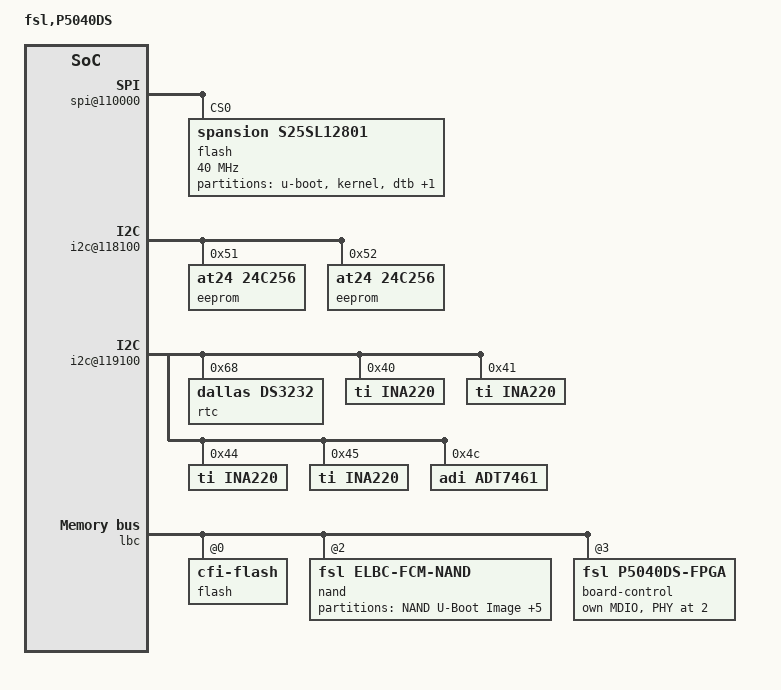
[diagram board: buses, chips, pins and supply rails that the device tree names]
/*
 * P5040DS Device Tree Source
 *
 * Copyright 2012 - 2015 Freescale Semiconductor Inc.
 *
 * Redistribution and use in source and binary forms, with or without
 * modification, are permitted provided that the following conditions are met:
 *     * Redistributions of source code must retain the above copyright
 *       notice, this list of conditions and the following disclaimer.
 *     * Redistributions in binary form must reproduce the above copyright
 *       notice, this list of conditions and the following disclaimer in the
 *       documentation and/or other materials provided with the distribution.
 *     * Neither the name of Freescale Semiconductor nor the
 *       names of its contributors may be used to endorse or promote products
 *       derived from this software without specific prior written permission.
 *
 *
 * ALTERNATIVELY, this software may be distributed under the terms of the
 * GNU General Public License ("GPL") as published by the Free Software
 * Foundation, either version 2 of that License or (at your option) any
 * later version.
 *
 * This software is provided by Freescale Semiconductor "as is" and any
 * express or implied warranties, including, but not limited to, the implied
 * warranties of merchantability and fitness for a particular purpose are
 * disclaimed. In no event shall Freescale Semiconductor be liable for any
 * direct, indirect, incidental, special, exemplary, or consequential damages
 * (including, but not limited to, procurement of substitute goods or services;
 * loss of use, data, or profits; or business interruption) however caused and
 * on any theory of liability, whether in contract, strict liability, or tort
 * (including negligence or otherwise) arising in any way out of the use of this
 * software, even if advised of the possibility of such damage.
 */

/include/ "p5040si-pre.dtsi"

/ {
	model = "fsl,P5040DS";
	compatible = "fsl,P5040DS";
	#address-cells = <2>;
	#size-cells = <2>;
	interrupt-parent = <&mpic>;

	aliases{
		phy_sgmii_slot2_1c = &phy_sgmii_slot2_1c;
		phy_sgmii_slot2_1d = &phy_sgmii_slot2_1d;
		phy_sgmii_slot2_1e = &phy_sgmii_slot2_1e;
		phy_sgmii_slot2_1f = &phy_sgmii_slot2_1f;
		phy_sgmii_slot3_1c = &phy_sgmii_slot3_1c;
		phy_sgmii_slot3_1d = &phy_sgmii_slot3_1d;
		phy_sgmii_slot3_1e = &phy_sgmii_slot3_1e;
		phy_sgmii_slot3_1f = &phy_sgmii_slot3_1f;
		phy_sgmii_slot5_1c = &phy_sgmii_slot5_1c;
		phy_sgmii_slot5_1d = &phy_sgmii_slot5_1d;
		phy_sgmii_slot5_1e = &phy_sgmii_slot5_1e;
		phy_sgmii_slot5_1f = &phy_sgmii_slot5_1f;
		phy_sgmii_slot6_1c = &phy_sgmii_slot6_1c;
		phy_sgmii_slot6_1d = &phy_sgmii_slot6_1d;
		phy_sgmii_slot6_1e = &phy_sgmii_slot6_1e;
		phy_sgmii_slot6_1f = &phy_sgmii_slot6_1f;
		hydra_rg = &hydra_rg;
		hydra_sg_slot2 = &hydra_sg_slot2;
		hydra_sg_slot3 = &hydra_sg_slot3;
		hydra_sg_slot5 = &hydra_sg_slot5;
		hydra_sg_slot6 = &hydra_sg_slot6;
		hydra_xg_slot1 = &hydra_xg_slot1;
		hydra_xg_slot2 = &hydra_xg_slot2;
	};

	memory {
		device_type = "memory";
	};

	reserved-memory {
		#address-cells = <2>;
		#size-cells = <2>;
		ranges;

		bman_fbpr: bman-fbpr {
			size = <0 0x1000000>;
			alignment = <0 0x1000000>;
		};
		qman_fqd: qman-fqd {
			size = <0 0x400000>;
			alignment = <0 0x400000>;
		};
		qman_pfdr: qman-pfdr {
			size = <0 0x2000000>;
			alignment = <0 0x2000000>;
		};
	};

	dcsr: dcsr@f00000000 {
		ranges = <0x00000000 0xf 0x00000000 0x01008000>;
	};

	bportals: bman-portals@ff4000000 {
		ranges = <0x0 0xf 0xf4000000 0x200000>;
	};

	qportals: qman-portals@ff4200000 {
		ranges = <0x0 0xf 0xf4200000 0x200000>;
	};

	soc: soc@ffe000000 {
		ranges = <0x00000000 0xf 0xfe000000 0x1000000>;
		reg = <0xf 0xfe000000 0 0x00001000>;
		spi@110000 {
			flash@0 {
				#address-cells = <1>;
				#size-cells = <1>;
				compatible = "spansion,s25sl12801", "jedec,spi-nor";
				reg = <0>;
				spi-max-frequency = <40000000>; /* input clock */
				partition@u-boot {
					label = "u-boot";
					reg = <0x00000000 0x00100000>;
				};
				partition@kernel {
					label = "kernel";
					reg = <0x00100000 0x00500000>;
				};
				partition@dtb {
					label = "dtb";
					reg = <0x00600000 0x00100000>;
				};
				partition@fs {
					label = "file system";
					reg = <0x00700000 0x00900000>;
				};
			};
		};

		i2c@118100 {
			eeprom@51 {
				compatible = "at24,24c256";
				reg = <0x51>;
			};
			eeprom@52 {
				compatible = "at24,24c256";
				reg = <0x52>;
			};
		};

		i2c@119100 {
			rtc@68 {
				compatible = "dallas,ds3232";
				reg = <0x68>;
				interrupts = <0x1 0x1 0 0>;
			};
			ina220@40 {
				compatible = "ti,ina220";
				reg = <0x40>;
				shunt-resistor = <1000>;
			};
			ina220@41 {
				compatible = "ti,ina220";
				reg = <0x41>;
				shunt-resistor = <1000>;
			};
			ina220@44 {
				compatible = "ti,ina220";
				reg = <0x44>;
				shunt-resistor = <1000>;
			};
			ina220@45 {
				compatible = "ti,ina220";
				reg = <0x45>;
				shunt-resistor = <1000>;
			};
			adt7461@4c {
				compatible = "adi,adt7461";
				reg = <0x4c>;
			};
		};

		fman@400000 {
			ethernet@e0000 {
				phy-connection-type = "sgmii";
			};

			ethernet@e2000 {
				phy-connection-type = "sgmii";
			};

			ethernet@e4000 {
				phy-connection-type = "sgmii";
			};

			ethernet@e6000 {
				phy-connection-type = "sgmii";
			};

			ethernet@e8000 {
				phy-handle = <&phy_rgmii_0>;
				phy-connection-type = "rgmii";
			};

			ethernet@f0000 {
				phy-handle = <&phy_xgmii_slot_2>;
				phy-connection-type = "xgmii";
			};
		};

		fman@500000 {
			ethernet@e0000 {
				phy-connection-type = "sgmii";
			};

			ethernet@e2000 {
				phy-connection-type = "sgmii";
			};

			ethernet@e4000 {
				phy-connection-type = "sgmii";
			};

			ethernet@e6000 {
				phy-connection-type = "sgmii";
			};

			ethernet@e8000 {
				phy-handle = <&phy_rgmii_1>;
				phy-connection-type = "rgmii";
			};

			ethernet@f0000 {
				phy-handle = <&phy_xgmii_slot_1>;
				phy-connection-type = "xgmii";
			};
		};
	};

	lbc: localbus@ffe124000 {
		reg = <0xf 0xfe124000 0 0x1000>;
		ranges = <0 0 0xf 0xe8000000 0x08000000
			  2 0 0xf 0xffa00000 0x00040000
			  3 0 0xf 0xffdf0000 0x00008000>;

		flash@0,0 {
			compatible = "cfi-flash";
			reg = <0 0 0x08000000>;
			bank-width = <2>;
			device-width = <2>;
		};

		nand@2,0 {
			#address-cells = <1>;
			#size-cells = <1>;
			compatible = "fsl,elbc-fcm-nand";
			reg = <0x2 0x0 0x40000>;

			partition@0 {
				label = "NAND U-Boot Image";
				reg = <0x0 0x02000000>;
			};

			partition@2000000 {
				label = "NAND Root File System";
				reg = <0x02000000 0x10000000>;
			};

			partition@12000000 {
				label = "NAND Compressed RFS Image";
				reg = <0x12000000 0x08000000>;
			};

			partition@1a000000 {
				label = "NAND Linux Kernel Image";
				reg = <0x1a000000 0x04000000>;
			};

			partition@1e000000 {
				label = "NAND DTB Image";
				reg = <0x1e000000 0x01000000>;
			};

			partition@1f000000 {
				label = "NAND Writable User area";
				reg = <0x1f000000 0x01000000>;
			};
		};

		board-control@3,0 {
			#address-cells = <1>;
			#size-cells = <1>;
			compatible = "fsl,p5040ds-fpga", "fsl,fpga-ngpixis";
			reg = <3 0 0x40>;
			ranges = <0 3 0 0x40>;

			mdio-mux-emi1 {
				#address-cells = <1>;
				#size-cells = <0>;
				compatible = "mdio-mux-mmioreg", "mdio-mux";
				mdio-parent-bus = <&mdio0>;
				reg = <9 1>;
				mux-mask = <0x78>;

				hydra_rg:rgmii-mdio@8 {
					#address-cells = <1>;
					#size-cells = <0>;
					reg = <8>;
					status = "disabled";

					phy_rgmii_0: ethernet-phy@0 {
						reg = <0x0>;
					};

					phy_rgmii_1: ethernet-phy@1 {
						reg = <0x1>;
					};
				};

				hydra_sg_slot2: sgmii-mdio@28 {
					#address-cells = <1>;
					#size-cells = <0>;
					reg = <0x28>;
					status = "disabled";

					phy_sgmii_slot2_1c: ethernet-phy@1c {
						reg = <0x1c>;
					};

					phy_sgmii_slot2_1d: ethernet-phy@1d {
						reg = <0x1d>;
					};

					phy_sgmii_slot2_1e: ethernet-phy@1e {
						reg = <0x1e>;
					};

					phy_sgmii_slot2_1f: ethernet-phy@1f {
						reg = <0x1f>;
					};
				};

				hydra_sg_slot3: sgmii-mdio@68 {
					#address-cells = <1>;
					#size-cells = <0>;
					reg = <0x68>;
					status = "disabled";

					phy_sgmii_slot3_1c: ethernet-phy@1c {
						reg = <0x1c>;
					};

					phy_sgmii_slot3_1d: ethernet-phy@1d {
						reg = <0x1d>;
					};

					phy_sgmii_slot3_1e: ethernet-phy@1e {
						reg = <0x1e>;
					};

					phy_sgmii_slot3_1f: ethernet-phy@1f {
						reg = <0x1f>;
					};
				};

				hydra_sg_slot5: sgmii-mdio@38 {
					#address-cells = <1>;
					#size-cells = <0>;
					reg = <0x38>;
					status = "disabled";

					phy_sgmii_slot5_1c: ethernet-phy@1c {
						reg = <0x1c>;
					};

					phy_sgmii_slot5_1d: ethernet-phy@1d {
						reg = <0x1d>;
					};

					phy_sgmii_slot5_1e: ethernet-phy@1e {
						reg = <0x1e>;
					};

					phy_sgmii_slot5_1f: ethernet-phy@1f {
						reg = <0x1f>;
					};
				};
				hydra_sg_slot6: sgmii-mdio@48 {
					#address-cells = <1>;
					#size-cells = <0>;
					reg = <0x48>;
					status = "disabled";

					phy_sgmii_slot6_1c: ethernet-phy@1c {
						reg = <0x1c>;
					};

					phy_sgmii_slot6_1d: ethernet-phy@1d {
						reg = <0x1d>;
					};

					phy_sgmii_slot6_1e: ethernet-phy@1e {
						reg = <0x1e>;
					};

					phy_sgmii_slot6_1f: ethernet-phy@1f {
						reg = <0x1f>;
					};
				};
			};

			mdio-mux-emi2 {
				#address-cells = <1>;
				#size-cells = <0>;
				compatible = "mdio-mux-mmioreg", "mdio-mux";
				mdio-parent-bus = <&xmdio0>;
				reg = <9 1>;
				mux-mask = <0x06>;

				hydra_xg_slot1: hydra-xg-slot1@0 {
					#address-cells = <1>;
					#size-cells = <0>;
					reg = <0>;
					status = "disabled";

					phy_xgmii_slot_1: ethernet-phy@0 {
						compatible = "ethernet-phy-ieee802.3-c45";
						reg = <4>;
					};
				};

				hydra_xg_slot2: hydra-xg-slot2@2 {
					#address-cells = <1>;
					#size-cells = <0>;
					reg = <2>;

					phy_xgmii_slot_2: ethernet-phy@4 {
						compatible = "ethernet-phy-ieee802.3-c45";
						reg = <0>;
					};
				};
			};
		};
	};

	pci0: pcie@ffe200000 {
		reg = <0xf 0xfe200000 0 0x1000>;
		ranges = <0x02000000 0 0xe0000000 0xc 0x00000000 0x0 0x20000000
			  0x01000000 0 0x00000000 0xf 0xf8000000 0x0 0x00010000>;
		pcie@0 {
			ranges = <0x02000000 0 0xe0000000
				  0x02000000 0 0xe0000000
				  0 0x20000000

				  0x01000000 0 0x00000000
				  0x01000000 0 0x00000000
				  0 0x00010000>;
		};
	};

	pci1: pcie@ffe201000 {
		reg = <0xf 0xfe201000 0 0x1000>;
		ranges = <0x02000000 0x0 0xe0000000 0xc 0x20000000 0x0 0x20000000
			  0x01000000 0x0 0x00000000 0xf 0xf8010000 0x0 0x00010000>;
		pcie@0 {
			ranges = <0x02000000 0 0xe0000000
				  0x02000000 0 0xe0000000
				  0 0x20000000

				  0x01000000 0 0x00000000
				  0x01000000 0 0x00000000
				  0 0x00010000>;
		};
	};

	pci2: pcie@ffe202000 {
		reg = <0xf 0xfe202000 0 0x1000>;
		ranges = <0x02000000 0 0xe0000000 0xc 0x40000000 0 0x20000000
			  0x01000000 0 0x00000000 0xf 0xf8020000 0 0x00010000>;
		pcie@0 {
			ranges = <0x02000000 0 0xe0000000
				  0x02000000 0 0xe0000000
				  0 0x20000000

				  0x01000000 0 0x00000000
				  0x01000000 0 0x00000000
				  0 0x00010000>;
		};
	};
};

/include/ "p5040si-post.dtsi"
